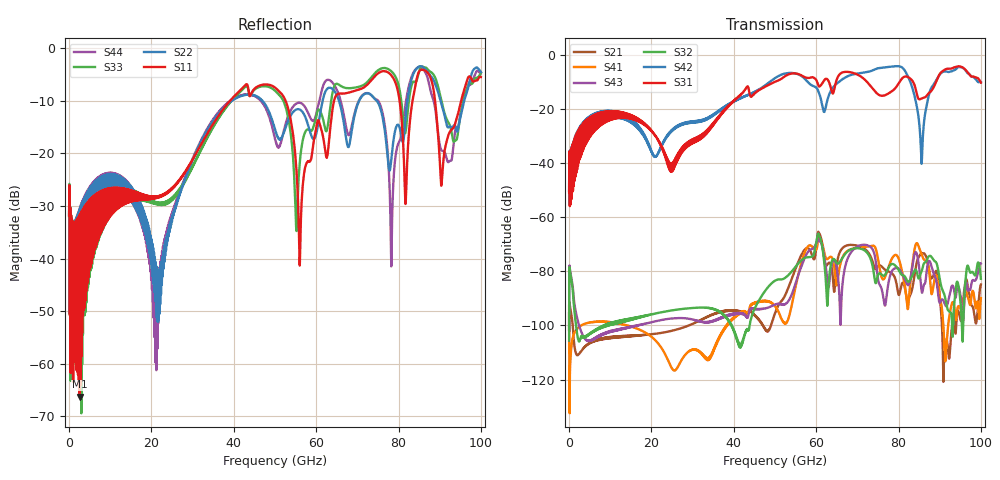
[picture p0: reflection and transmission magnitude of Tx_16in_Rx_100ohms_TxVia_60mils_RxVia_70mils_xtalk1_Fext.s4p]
! Info: Touchstone file created by Circ.  Input file=Tx_16in_Rx_100ohms_TxVia_60mils_RxVia_70mils.circ
# Hz S RI R 50
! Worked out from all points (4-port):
!   10000 points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, 10 MHz to 100 GHz, reference 50 ohm
!   strongest paths, dB at 10 MHz, 25.01 GHz, 50.01 GHz, 75.01 GHz, 100 GHz:
!     S31: -50.7, -42.9, -9.9, -14.5, -10.2
!     S42: -50.2, -27.7, -8.5, -4.9, -10.0
!     S32: -105.5, -94.4, -83.4, -81.4, -82.7
!     S43: -101.6, -97.4, -92.2, -82.9, -77.1
!     S41: -92.8, -115.9, -92.8, -75.4, -89.8
!     S21: -95.4, -101.9, -95.3, -78.1, -84.9
!   lowest |S11| = -66.3 dB at 2.57 GHz (marker M1), VSWR 1.00, Z = 50 + j0.0486 ohm
!   |S11| at or under -10 dB: start of sweep to 39.1 GHz; 52.57 GHz to 64.35 GHz (11.78 GHz wide, 20.1 % of centre); 88.87 GHz to 95.21 GHz (6.337 GHz wide, 6.88 % of centre)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
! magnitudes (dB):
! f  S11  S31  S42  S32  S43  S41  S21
! 10 MHz  -31.8  -50.7  -50.2  -105.5  -101.6  -92.8  -95.4
! 2.57 GHz  -66.3  -36.6  -34.0  -105.7  -100.6  -100.4  -110.2
! 21.2 GHz  -28.4  -30.5  -37.4  -95.5  -98.4  -105.9  -103.0
! 39.19 GHz  -9.9  -18.0  -17.8  -99.3  -95.9  -98.4  -94.4
! 56.06 GHz  -40.3  -7.3  -7.4  -76.4  -79.6  -78.8  -75.0
! 78.27 GHz  -5.2  -13.5  -4.3  -77.3  -80.3  -75.6  -80.6
! 100 GHz  -5.5  -10.2  -10.0  -82.7  -77.1  -89.8  -84.9
